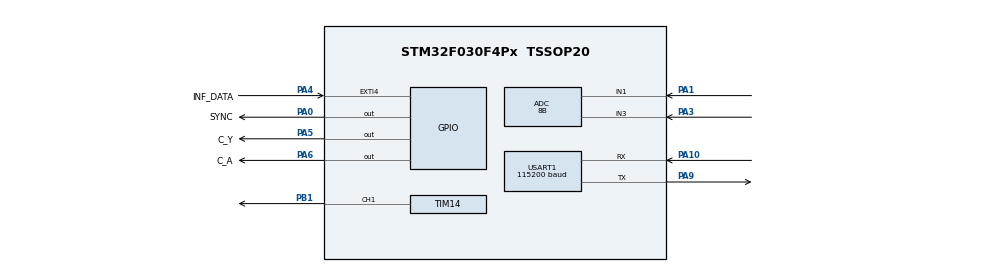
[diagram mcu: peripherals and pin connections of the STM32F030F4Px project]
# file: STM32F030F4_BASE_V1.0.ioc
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ADC.ClockPrescaler=ADC_CLOCK_ASYNC_DIV1
ADC.ContinuousConvMode=DISABLE
ADC.DMAContinuousRequests=ENABLE
ADC.DataAlign=ADC_DATAALIGN_RIGHT
ADC.DiscontinuousConvMode=DISABLE
ADC.EOCSelection=ADC_EOC_SINGLE_CONV
ADC.EnableAnalogWatchDog=false
ADC.ExternalTrigConv=ADC_EXTERNALTRIGCONV_T1_TRGO
ADC.ExternalTrigConvEdge=ADC_EXTERNALTRIGCONVEDGE_RISING
ADC.LowPowerAutoPowerOff=DISABLE
ADC.LowPowerAutoWait=DISABLE
ADC.Overrun=ADC_OVR_DATA_PRESERVED
ADC.Resolution=ADC_RESOLUTION_8B
ADC.SamplingTime=ADC_SAMPLETIME_7CYCLES_5
ADC.ScanConvMode=ADC_SCAN_DIRECTION_FORWARD
Dma.ADC.0.Direction=DMA_PERIPH_TO_MEMORY
Dma.ADC.0.Instance=DMA1_Channel1
Dma.ADC.0.MemDataAlignment=DMA_MDATAALIGN_BYTE
Dma.ADC.0.MemInc=DMA_MINC_ENABLE
Dma.ADC.0.Mode=DMA_CIRCULAR
Dma.ADC.0.PeriphDataAlignment=DMA_PDATAALIGN_BYTE
Dma.ADC.0.PeriphInc=DMA_PINC_DISABLE
Dma.ADC.0.Priority=DMA_PRIORITY_LOW
Dma.Request0=ADC
Mcu.Family=STM32F0
Mcu.Name=STM32F030F4Px
Mcu.Package=TSSOP20
NVIC.DMA1_Channel1_IRQn=true\:0\:0\:false\:false\:true
NVIC.EXTI4_15_IRQn=true\:3\:0\:true\:false\:true
NVIC.TIM14_IRQn=true\:2\:0\:true\:false\:true
NVIC.TIM16_IRQn=true\:2\:0\:true\:false\:true
NVIC.TIM17_IRQn=true\:1\:0\:true\:false\:true
NVIC.TIM3_IRQn=true\:0\:0\:false\:false\:true
NVIC.USART1_IRQn=true\:1\:0\:true\:false\:true
PA0.GPIO_Label=SYNC
PA0.GPIO_ModeDefaultOutputPP=GPIO_MODE_OUTPUT_OD
PA0.GPIO_PuPd=GPIO_NOPULL
PA0.Signal=GPIO_Output
PA1.Mode=IN1
PA1.Signal=ADC_IN1
PA10.Mode=Asynchronous
PA10.Signal=USART1_RX
PA13.Mode=Serial_Wire
PA13.Signal=SYS_SWDIO
PA14.Mode=Serial_Wire
PA14.Signal=SYS_SWCLK
PA3.Mode=IN3
PA3.Signal=ADC_IN3
PA4.GPIO_Label=INF_DATA
PA4.GPIO_ModeDefaultEXTI=GPIO_MODE_IT_RISING_FALLING
PA4.GPIO_PuPd=GPIO_NOPULL
PA4.Signal=GPXTI4
PA5.GPIO_Label=C_Y
PA5.Signal=GPIO_Output
PA6.GPIO_Label=C_A
PA6.Signal=GPIO_Output
PA9.Mode=Asynchronous
PA9.Signal=USART1_TX
PB1.Signal=S_TIM14_CH1
PF0-OSC_IN.Mode=HSE-External-Oscillator
PF0-OSC_IN.Signal=RCC_OSC_IN
PF1-OSC_OUT.Mode=HSE-External-Oscillator
PF1-OSC_OUT.Signal=RCC_OSC_OUT
ProjectManager.HeapSize=0x400
ProjectManager.StackSize=0x600
ProjectManager.TargetToolchain=MDK-ARM V5
RCC.AHBFreq_Value=48000000
RCC.APB1Freq_Value=48000000
RCC.APB1TimFreq_Value=48000000
RCC.HCLKFreq_Value=48000000
RCC.PLLMUL=RCC_PLL_MUL12
RCC.SYSCLKFreq_VALUE=48000000
RCC.SYSCLKSource=RCC_SYSCLKSOURCE_PLLCLK
SH.S_TIM14_CH1.0=TIM14_CH1,PWM Generation1 CH1
TIM1.AutoReloadPreload=TIM_AUTORELOAD_PRELOAD_ENABLE
TIM1.Period=5-1
TIM1.Prescaler=48-1
TIM1.TIM_MasterOutputTrigger=TIM_TRGO_UPDATE
TIM14.AutoReloadPreload=TIM_AUTORELOAD_PRELOAD_DISABLE
TIM14.Channel=TIM_CHANNEL_1
TIM14.Period=1264-1
TIM14.Prescaler=0
TIM16.AutoReloadPreload=TIM_AUTORELOAD_PRELOAD_ENABLE
TIM16.Period=25-1
TIM16.Prescaler=24-1
TIM16.RepetitionCounter=0
TIM17.AutoReloadPreload=TIM_AUTORELOAD_PRELOAD_ENABLE
TIM17.Period=20000-1
TIM17.Prescaler=48-1
TIM3.AutoReloadPreload=TIM_AUTORELOAD_PRELOAD_DISABLE
TIM3.Period=50000
TIM3.Prescaler=48-1
USART1.BaudRate=115200
USART1.VirtualMode-Asynchronous=VM_ASYNC
VP_ADC_TempSens_Input.Mode=IN-TempSens
VP_TIM14_VS_ClockSourceINT.Mode=Enable_Timer
VP_TIM16_VS_ClockSourceINT.Mode=Enable_Timer
VP_TIM17_VS_ClockSourceINT.Mode=Enable_Timer
VP_TIM1_VS_ClockSourceINT.Mode=Internal
VP_TIM3_VS_ClockSourceINT.Mode=Internal
board=STM32F030F4_BASE_V1.0

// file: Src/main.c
/**
  ******************************************************************************
  * File Name          : main.c
  * Description        : Main program body
  ******************************************************************************
  ** This notice applies to any and all portions of this file
  * that are not between comment pairs USER CODE BEGIN and
  * USER CODE END. Other portions of this file, whether
  * inserted by the user or by software development tools
  * are owned by their respective copyright owners.
  *
  * COPYRIGHT(c) 2017 STMicroelectronics
  *
  * Redistribution and use in source and binary forms, with or without modification,
  * are permitted provided that the following conditions are met:
  *   1. Redistributions of source code must retain the above copyright notice,
  *      this list of conditions and the following disclaimer.
  *   2. Redistributions in binary form must reproduce the above copyright notice,
  *      this list of conditions and the following disclaimer in the documentation
  *      and/or other materials provided with the distribution.
  *   3. Neither the name of STMicroelectronics nor the names of its contributors
  *      may be used to endorse or promote products derived from this software
  *      without specific prior written permission.
  *
  * THIS SOFTWARE IS PROVIDED BY THE COPYRIGHT HOLDERS AND CONTRIBUTORS "AS IS"
  * AND ANY EXPRESS OR IMPLIED WARRANTIES, INCLUDING, BUT NOT LIMITED TO, THE
  * IMPLIED WARRANTIES OF MERCHANTABILITY AND FITNESS FOR A PARTICULAR PURPOSE ARE
  * DISCLAIMED. IN NO EVENT SHALL THE COPYRIGHT HOLDER OR CONTRIBUTORS BE LIABLE
  * FOR ANY DIRECT, INDIRECT, INCIDENTAL, SPECIAL, EXEMPLARY, OR CONSEQUENTIAL
  * DAMAGES (INCLUDING, BUT NOT LIMITED TO, PROCUREMENT OF SUBSTITUTE GOODS OR
  * SERVICES; LOSS OF USE, DATA, OR PROFITS; OR BUSINESS INTERRUPTION) HOWEVER
  * CAUSED AND ON ANY THEORY OF LIABILITY, WHETHER IN CONTRACT, STRICT LIABILITY,
  * OR TORT (INCLUDING NEGLIGENCE OR OTHERWISE) ARISING IN ANY WAY OUT OF THE USE
  * OF THIS SOFTWARE, EVEN IF ADVISED OF THE POSSIBILITY OF SUCH DAMAGE.
  *
  ******************************************************************************
  */
#include "main.h"
#include "stm32f0xx_hal.h"
#include "adc.h"
#include "dma.h"
#include "tim.h"
#include "usart.h"
#include "gpio.h"

/* USER CODE BEGIN Includes */
#include <stdio.h>
#include <stdlib.h>
#include "TaskTimeManager.h"
#include "ComBuff.h"
#include "ProtocolFrame.h"
#include "ProtocolHandle.h"
#include "Protocol.h"
#include "UltrasonicDriver.h"
#include "ChipTools.h"
#include "InfraredDriver.h"

#define CHIPIDADDR 0x1FFFF7AC
/* USER CODE END Includes */

/* USER CODE BEGIN PV */
/* Private variables ---------------------------------------------------------*/

/* USER CODE END PV */

void SystemClock_Config(void);

/* USER CODE BEGIN PFP */
/* Private function prototypes -----------------------------------------------*/

/* USER CODE END PFP */

/* USER CODE BEGIN 0 */

int fputc(int ch,FILE *f)
{
//	#ifndef PRINT_ERR
//		Queue_Put(Uart_Tx_Queue, &ch);
//	#else
	UART_TX_GPIO_Enable();
//	uint8_t c = (uint8_t)ch;
//	RobSend(&c, 1);
	while(HAL_UART_Transmit(&DEBUG_USART, (uint8_t*)&ch, 1, 100) == HAL_BUSY);
	UART_TX_GPIO_Disable();
	//Uart1_DMA_Sender.Write(&Uart1_DMA_Sender,(uint8_t*)&ch, 1);
	//while(HAL_UART_Transmit(&huart3, (uint8_t*)&ch, 1, 100) == HAL_BUSY);
//	#endif
	return(ch);
}

Ultrasonic_T Ultrasonic = {0};
void SN_Report(void){
	for(int i = 0; i < 12; i++)
		Ultrasonic.Sn_Code += *(uint8_t*)(CHIPIDADDR+i);
	Protocol_Send(SN_REPORT, &Ultrasonic.Sn_Code, 2);
}
uint8_t UartData1[20] = {0};

void LED_TEST(void){
  static uint8_t seq = 0;
	//printf("LED_TEST:%d\r\n", seq++);
	#ifdef INFRARED_RECV
	Infrared_Data_t rdata;
	if(InfraredRecvData(Infrared_r, &rdata) == 1){
		if((uint8_t)(rdata.ID+rdata.CMD+rdata.Data) == rdata.CheckSum)
			printf("%d %d %d %d\n", rdata.ID, rdata.CMD, rdata.Data, rdata.CheckSum);
	}
//	if(Queue_Pop(Infrared_r->InfQueue, &data) == 0){
//		for(int i=0; i < 16; i++){
////			printf("%d\r\n", Infrared->tdata[Infrared->tindex++]);
//		}
//		printf("Data:%d\r\n", data[0]);
//
//	}

	#endif
#ifdef 	INFRARED_SEND
//	Infrared_Data_t sdata;
//	sdata.ID = seq++;
//	sdata.CMD = 2;
//	sdata.Data = 3;
//	sdata.CheckSum = (uint8_t)(sdata.ID+sdata.CMD+sdata.Data);
//	InfraredSendData(Infrared_s, &sdata);
	#endif
}

void HAL_UART_RxCpltCallback(UART_HandleTypeDef *huart){
	//ProtocolResolver_1->Protocol_Put(ProtocolResolver_1,UartData,20);
	HAL_UART_Receive_IT(&huart1, UartData1, 20);
}

void HAL_GPIO_EXTI_Callback(uint16_t GPIO_Pin){
#ifdef INFRARED_RECV
	INF_R_GPIO_EXTI_Callback(GPIO_Pin);
#endif
}

int flag = 0;
void HAL_TIM_PeriodElapsedCallback(TIM_HandleTypeDef *htim){
	ULT_TIM_PeriodElapsedCallback(htim);
#ifdef INFRARED_RECV
	INF_R_TIM_PeriodElapsedCallback(htim);
#endif
}

void HAL_TIM_PWM_PulseFinishedCallback(TIM_HandleTypeDef *htim){
	#ifdef INFRARED_SEND
		INF_S_TIM_PWM_PulseFinishedCallback(htim);
	#endif
}
extern void UltrasonicRun(void);
/* USER CODE END 0 */

int main(void)
{

  /* MCU Configuration----------------------------------------------------------*/

  /* Reset of all peripherals, Initializes the Flash interface and the Systick. */
  HAL_Init();

  /* USER CODE BEGIN Init */
//	EXTI_IT_DISABLE();
  /* USER CODE END Init */

  /* Configure the system clock */
  SystemClock_Config();

  /* Initialize all configured peripherals */
  MX_GPIO_Init();
  MX_DMA_Init();
  MX_USART1_UART_Init();
  MX_ADC_Init();
  MX_TIM16_Init();
  MX_TIM17_Init();
  MX_TIM1_Init();
  MX_TIM14_Init();
  MX_TIM3_Init();

  /* USER CODE BEGIN 2 */
	LL_SYSTICK_EnableIT();
	TaskTime_Init();
  ProtocolFrame_Init();
  Log_Init();
  ComBuff_Init();
	ChipTools_Init();

	DelayMS(100);

	Ultrasonic_Init(&Ultrasonic);
	Infrared_s_Init();
	Infrared_r_Init();
	UART_TX_GPIO_Disable();
	SN_Report(); //�ϱ�ID

	/*-----------���Ե�������-----------------*/
  TaskTime_Add(TaskID++, TimeCycle(0,10), LED_TEST, Real_Mode);
	/*-----------������������-----------------*/
//  TaskTime_Add(TaskID++, TimeCycle(0,30), SenderKeepTransmit, Count_Mode);
	/*-----------Э���������-----------------*/
//  TaskTime_Add(TaskID++, TimeCycle(0,30), PaddingProtocol, Real_Mode);
	/*-----------Э��ִ������-----------------*/
//	TaskTime_Add(TaskID++, TimeCycle(0,30), FetchProtocols, Real_Mode);
	/*-----------�������������-----------------*/
//	TaskTime_Add(TaskID++, TimeCycle(0,500), UltrasonicRun, Real_Mode);

  /* USER CODE END 2 */

  /* Infinite loop */
  while (1)
  {

  /* USER CODE BEGIN 3 */
    TaskTime_Run();
//		LED_TEST();
//		SenderKeepTransmit();
//		PaddingProtocol();
//		FetchProtocols();
  }
  /* USER CODE END 3 */

}

/** System Clock Configuration
*/
void SystemClock_Config(void)
{

  LL_FLASH_SetLatency(LL_FLASH_LATENCY_1);

  if(LL_FLASH_GetLatency() != LL_FLASH_LATENCY_1)
  {
  Error_Handler();
  }
  LL_RCC_HSI_Enable();

   /* Wait till HSI is ready */
  while(LL_RCC_HSI_IsReady() != 1)
  {

  }
  LL_RCC_HSI_SetCalibTrimming(16);

  LL_RCC_HSI14_Enable();

   /* Wait till HSI14 is ready */
  while(LL_RCC_HSI14_IsReady() != 1)
  {

  }
  LL_RCC_HSI14_SetCalibTrimming(16);

  LL_RCC_PLL_ConfigDomain_SYS(LL_RCC_PLLSOURCE_HSI_DIV_2, LL_RCC_PLL_MUL_12);

  LL_RCC_PLL_Enable();

   /* Wait till PLL is ready */
  while(LL_RCC_PLL_IsReady() != 1)
  {

  }
  LL_RCC_SetAHBPrescaler(LL_RCC_SYSCLK_DIV_1);

  LL_RCC_SetAPB1Prescaler(LL_RCC_APB1_DIV_1);

  LL_RCC_SetSysClkSource(LL_RCC_SYS_CLKSOURCE_PLL);

   /* Wait till System clock is ready */
  while(LL_RCC_GetSysClkSource() != LL_RCC_SYS_CLKSOURCE_STATUS_PLL)
  {

  }
  LL_Init1msTick(48000000);

  LL_SYSTICK_SetClkSource(LL_SYSTICK_CLKSOURCE_HCLK);

  LL_SetSystemCoreClock(48000000);

  LL_RCC_HSI14_EnableADCControl();

  LL_RCC_SetUSARTClockSource(LL_RCC_USART1_CLKSOURCE_PCLK1);

  /* SysTick_IRQn interrupt configuration */
  NVIC_SetPriority(SysTick_IRQn, 0);
}

void _Error_Handler(char * file, int line)
{
  while(1)
  {
  }
}

/************************ (C) COPYRIGHT STMicroelectronics *****END OF FILE****/
